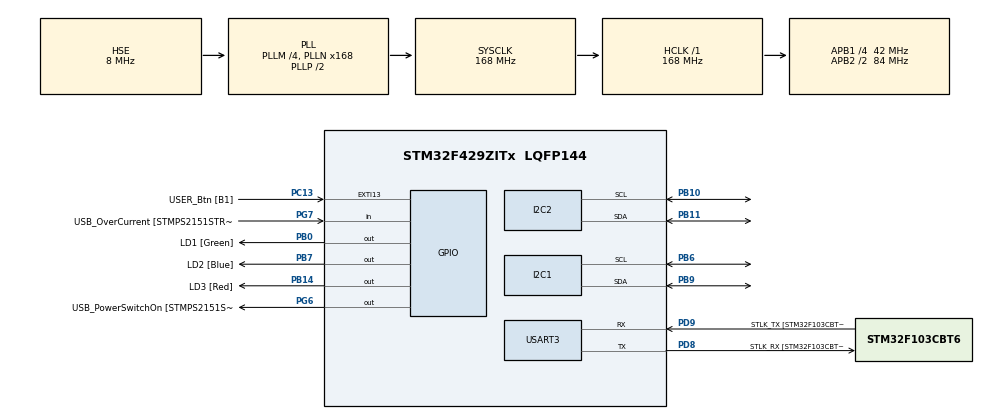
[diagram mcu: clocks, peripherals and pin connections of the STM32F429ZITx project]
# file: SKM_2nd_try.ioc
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Dma.I2C1_RX.0.Direction=DMA_PERIPH_TO_MEMORY
Dma.I2C1_RX.0.FIFOMode=DMA_FIFOMODE_DISABLE
Dma.I2C1_RX.0.Instance=DMA1_Stream0
Dma.I2C1_RX.0.MemDataAlignment=DMA_MDATAALIGN_BYTE
Dma.I2C1_RX.0.MemInc=DMA_MINC_ENABLE
Dma.I2C1_RX.0.Mode=DMA_NORMAL
Dma.I2C1_RX.0.PeriphDataAlignment=DMA_PDATAALIGN_BYTE
Dma.I2C1_RX.0.PeriphInc=DMA_PINC_DISABLE
Dma.I2C1_RX.0.Priority=DMA_PRIORITY_LOW
Dma.I2C1_TX.1.Direction=DMA_MEMORY_TO_PERIPH
Dma.I2C1_TX.1.FIFOMode=DMA_FIFOMODE_DISABLE
Dma.I2C1_TX.1.Instance=DMA1_Stream6
Dma.I2C1_TX.1.MemDataAlignment=DMA_MDATAALIGN_BYTE
Dma.I2C1_TX.1.MemInc=DMA_MINC_ENABLE
Dma.I2C1_TX.1.Mode=DMA_NORMAL
Dma.I2C1_TX.1.PeriphDataAlignment=DMA_PDATAALIGN_BYTE
Dma.I2C1_TX.1.PeriphInc=DMA_PINC_DISABLE
Dma.I2C1_TX.1.Priority=DMA_PRIORITY_LOW
Dma.I2C2_TX.2.Direction=DMA_MEMORY_TO_PERIPH
Dma.I2C2_TX.2.FIFOMode=DMA_FIFOMODE_DISABLE
Dma.I2C2_TX.2.Instance=DMA1_Stream7
Dma.I2C2_TX.2.MemDataAlignment=DMA_MDATAALIGN_BYTE
Dma.I2C2_TX.2.MemInc=DMA_MINC_ENABLE
Dma.I2C2_TX.2.Mode=DMA_NORMAL
Dma.I2C2_TX.2.PeriphDataAlignment=DMA_PDATAALIGN_BYTE
Dma.I2C2_TX.2.PeriphInc=DMA_PINC_DISABLE
Dma.I2C2_TX.2.Priority=DMA_PRIORITY_LOW
Dma.Request0=I2C1_RX
Dma.Request1=I2C1_TX
Dma.Request2=I2C2_TX
IWDG.Prescaler=IWDG_PRESCALER_256
IWDG.Reload=999
Mcu.Family=STM32F4
Mcu.Name=STM32F429ZITx
Mcu.Package=LQFP144
NVIC.DMA1_Stream0_IRQn=true\:0\:0\:false\:false\:true\:false\:true\:true
NVIC.DMA1_Stream6_IRQn=true\:0\:0\:false\:false\:true\:false\:true\:true
NVIC.DMA1_Stream7_IRQn=true\:0\:0\:false\:false\:true\:false\:true\:true
NVIC.PriorityGroup=NVIC_PRIORITYGROUP_4
NVIC.USART3_IRQn=true\:0\:0\:false\:false\:true\:true\:true\:true
PA1.GPIO_Label=RMII_REF_CLK [LAN8742A-CZ-TR_REFCLK0]
PA1.Signal=ETH_REF_CLK
PA10.GPIO_Label=USB_ID
PA10.Signal=USB_OTG_FS_ID
PA11.GPIO_Label=USB_DM
PA11.Signal=USB_OTG_FS_DM
PA12.GPIO_Label=USB_DP
PA12.Signal=USB_OTG_FS_DP
PA13.GPIO_Label=TMS
PA13.Mode=Serial_Wire
PA13.Signal=SYS_JTMS-SWDIO
PA14.GPIO_Label=TCK
PA14.Mode=Serial_Wire
PA14.Signal=SYS_JTCK-SWCLK
PA2.GPIO_Label=RMII_MDIO [LAN8742A-CZ-TR_MDIO]
PA2.Signal=ETH_MDIO
PA7.GPIO_Label=RMII_CRS_DV [LAN8742A-CZ-TR_CRS_DV]
PA7.Signal=ETH_CRS_DV
PA8.GPIO_Label=USB_SOF [TP1]
PA8.Signal=USB_OTG_FS_SOF
PA9.GPIO_Label=USB_VBUS
PA9.Signal=USB_OTG_FS_VBUS
PB0.GPIO_Label=LD1 [Green]
PB0.Signal=GPIO_Output
PB10.Mode=I2C
PB10.Signal=I2C2_SCL
PB11.Mode=I2C
PB11.Signal=I2C2_SDA
PB13.GPIO_Label=RMII_TXD1 [LAN8742A-CZ-TR_TXD1]
PB13.Signal=ETH_TXD1
PB14.GPIO_Label=LD3 [Red]
PB14.Signal=GPIO_Output
PB6.Mode=I2C
PB6.Signal=I2C1_SCL
PB7.GPIO_Label=LD2 [Blue]
PB7.Signal=GPIO_Output
PB9.Mode=I2C
PB9.Signal=I2C1_SDA
PC1.GPIO_Label=RMII_MDC [LAN8742A-CZ-TR_MDC]
PC1.Signal=ETH_MDC
PC13.GPIO_Label=USER_Btn [B1]
PC13.Signal=GPXTI13
PC14/OSC32_IN.Mode=LSE-External-Oscillator
PC14/OSC32_IN.Signal=RCC_OSC32_IN
PC15/OSC32_OUT.Mode=LSE-External-Oscillator
PC15/OSC32_OUT.Signal=RCC_OSC32_OUT
PC4.GPIO_Label=RMII_RXD0 [LAN8742A-CZ-TR_RXD0]
PC4.Signal=ETH_RXD0
PC5.GPIO_Label=RMII_RXD1 [LAN8742A-CZ-TR_RXD1]
PC5.Signal=ETH_RXD1
PD8.GPIO_Label=STLK_RX [STM32F103CBT6_PA3]
PD8.Mode=Asynchronous
PD8.Signal=USART3_TX
PD9.GPIO_Label=STLK_TX [STM32F103CBT6_PA2]
PD9.Mode=Asynchronous
PD9.Signal=USART3_RX
PG11.GPIO_Label=RMII_TX_EN [LAN8742A-CZ-TR_TXEN]
PG11.Signal=ETH_TX_EN
PG13.GPIO_Label=RMII_TXD0 [LAN8742A-CZ-TR_TXD0]
PG13.Signal=ETH_TXD0
PG6.GPIO_Label=USB_PowerSwitchOn [STMPS2151STR_EN]
PG6.Signal=GPIO_Output
PG7.GPIO_Label=USB_OverCurrent [STMPS2151STR_FAULT]
PG7.Signal=GPIO_Input
PH0/OSC_IN.GPIO_Label=MCO [STM32F103CBT6_PA8]
PH0/OSC_IN.Mode=HSE-External-Clock-Source
PH0/OSC_IN.Signal=RCC_OSC_IN
PH1/OSC_OUT.Mode=HSE-External-Clock-Source
PH1/OSC_OUT.Signal=RCC_OSC_OUT
ProjectManager.HeapSize=0x200
ProjectManager.StackSize=0x400
ProjectManager.TargetToolchain=STM32CubeIDE
RCC.48MHZClocksFreq_Value=48000000
RCC.AHBFreq_Value=168000000
RCC.APB1CLKDivider=RCC_HCLK_DIV4
RCC.APB1Freq_Value=42000000
RCC.APB1TimFreq_Value=84000000
RCC.APB2CLKDivider=RCC_HCLK_DIV2
RCC.APB2Freq_Value=84000000
RCC.APB2TimCLKDivider=2
RCC.APB2TimFreq_Value=168000000
RCC.CortexFreq_Value=168000000
RCC.HCLKFreq_Value=168000000
RCC.HSE_VALUE=8000000
RCC.HSI_VALUE=16000000
RCC.PLLM=4
RCC.PLLMUL=RCC_PLL_MUL9
RCC.PLLN=168
RCC.PLLQ=7
RCC.PLLSourceVirtual=RCC_PLLSOURCE_HSE
RCC.PRESCALERUSB=RCC_USBCLKSOURCE_PLL_DIV1_5
RCC.SYSCLKFreq_VALUE=168000000
RCC.SYSCLKSource=RCC_SYSCLKSOURCE_PLLCLK
RCC.SYSCLKSourceVirtual=RCC_SYSCLKSOURCE_PLLCLK
RCC.USBFreq_Value=48000000
RCC.VCOOutputFreq_Value=336000000
USART3.VirtualMode=VM_ASYNC
VP_IWDG_VS_IWDG.Mode=IWDG_Activate
board=NUCLEO-F429ZI

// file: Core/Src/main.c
/* USER CODE BEGIN Header */
/**
  ******************************************************************************
  * @file           : main.c
  * @brief          : Main program body
  ******************************************************************************
  * @attention
  *
  * Copyright (c) 2026 STMicroelectronics.
  * All rights reserved.
  *
  * This software is licensed under terms that can be found in the LICENSE file
  * in the root directory of this software component.
  * If no LICENSE file comes with this software, it is provided AS-IS.
  *
  ******************************************************************************
  */
/* USER CODE END Header */
#include "main.h"
#include "dma.h"
#include "i2c.h"
#include "iwdg.h"
#include "usart.h"
#include "gpio.h"

/* USER CODE BEGIN Includes */
#include "app.h"
#include "string.h"
#include "cli.h"
#include "bmp280.h"
#include "lcd_i2c.h"
#include "stdio.h"
/* USER CODE END Includes */

void SystemClock_Config(void);

/* USER CODE BEGIN 0 */
static void I2C_Scan(UART_HandleTypeDef *huart, I2C_HandleTypeDef *hi2c, const char *name)
{
    char msg[80];
    uint8_t found = 0;

    snprintf(msg, sizeof(msg), "\r\nSkanowanie %s...\r\n", name);
    HAL_UART_Transmit(huart, (uint8_t*)msg, strlen(msg), 100);

    for (uint8_t addr = 1; addr < 128; addr++)
    {
        if (HAL_I2C_IsDeviceReady(hi2c, (uint16_t)(addr << 1), 2, 10) == HAL_OK)
        {
            snprintf(msg, sizeof(msg), "Znaleziono: 0x%02X\r\n", addr);
            HAL_UART_Transmit(huart, (uint8_t*)msg, strlen(msg), 100);
            found = 1;
        }
    }

    if (!found)
    {
        snprintf(msg, sizeof(msg), "Brak urzadzen na %s\r\n", name);
        HAL_UART_Transmit(huart, (uint8_t*)msg, strlen(msg), 100);
    }
}
/* USER CODE END 0 */

int main(void)
{

  /* MCU Configuration--------------------------------------------------------*/

  /* Reset of all peripherals, Initializes the Flash interface and the Systick. */
  HAL_Init();

  /* Configure the system clock */
  SystemClock_Config();

  /* Initialize all configured peripherals */
  MX_GPIO_Init();
  MX_DMA_Init();
  MX_I2C1_Init();
  MX_I2C2_Init();
  MX_USART3_UART_Init();
  MX_IWDG_Init();
  /* USER CODE BEGIN 2 */
  HAL_Delay(500);

  I2C_Scan(&huart3, &hi2c1, "I2C1");
  I2C_Scan(&huart3, &hi2c2, "I2C2");
  APP_Init(&hi2c2, &hi2c1, &huart3);
  /* USER CODE END 2 */

  /* Infinite loop */
  /* USER CODE BEGIN WHILE */
  while (1)
  {
	  APP_Process();
	  HAL_IWDG_Refresh(&hiwdg);
    /* USER CODE END WHILE */

  }
}

void SystemClock_Config(void)
{
  RCC_OscInitTypeDef RCC_OscInitStruct = {0};
  RCC_ClkInitTypeDef RCC_ClkInitStruct = {0};

  /** Configure the main internal regulator output voltage
  */
  __HAL_RCC_PWR_CLK_ENABLE();
  __HAL_PWR_VOLTAGESCALING_CONFIG(PWR_REGULATOR_VOLTAGE_SCALE1);

  /** Initializes the RCC Oscillators according to the specified parameters
  * in the RCC_OscInitTypeDef structure.
  */
  RCC_OscInitStruct.OscillatorType = RCC_OSCILLATORTYPE_LSI|RCC_OSCILLATORTYPE_HSE;
  RCC_OscInitStruct.HSEState = RCC_HSE_BYPASS;
  RCC_OscInitStruct.LSIState = RCC_LSI_ON;
  RCC_OscInitStruct.PLL.PLLState = RCC_PLL_ON;
  RCC_OscInitStruct.PLL.PLLSource = RCC_PLLSOURCE_HSE;
  RCC_OscInitStruct.PLL.PLLM = 4;
  RCC_OscInitStruct.PLL.PLLN = 168;
  RCC_OscInitStruct.PLL.PLLP = RCC_PLLP_DIV2;
  RCC_OscInitStruct.PLL.PLLQ = 7;
  if (HAL_RCC_OscConfig(&RCC_OscInitStruct) != HAL_OK)
  {
    Error_Handler();
  }

  /** Initializes the CPU, AHB and APB buses clocks
  */
  RCC_ClkInitStruct.ClockType = RCC_CLOCKTYPE_HCLK|RCC_CLOCKTYPE_SYSCLK
                              |RCC_CLOCKTYPE_PCLK1|RCC_CLOCKTYPE_PCLK2;
  RCC_ClkInitStruct.SYSCLKSource = RCC_SYSCLKSOURCE_PLLCLK;
  RCC_ClkInitStruct.AHBCLKDivider = RCC_SYSCLK_DIV1;
  RCC_ClkInitStruct.APB1CLKDivider = RCC_HCLK_DIV4;
  RCC_ClkInitStruct.APB2CLKDivider = RCC_HCLK_DIV2;

  if (HAL_RCC_ClockConfig(&RCC_ClkInitStruct, FLASH_LATENCY_5) != HAL_OK)
  {
    Error_Handler();
  }
}

/* USER CODE BEGIN 4 */
void HAL_UART_RxCpltCallback(UART_HandleTypeDef *huart)
{
    CLI_OnUartRxCpltCallback(huart);
}

void HAL_UART_ErrorCallback(UART_HandleTypeDef *huart)
{
    CLI_OnUartErrorCallback(huart);
}

void HAL_I2C_MemRxCpltCallback(I2C_HandleTypeDef *hi2c)
{
    BMP280_I2C_MemRxCpltCallback(hi2c);
}

void HAL_I2C_MasterTxCpltCallback(I2C_HandleTypeDef *hi2c)
{
    LCD_I2C_MasterTxCpltCallback(hi2c);
}

void HAL_I2C_ErrorCallback(I2C_HandleTypeDef *hi2c)
{
    BMP280_I2C_ErrorCallback(hi2c);
    LCD_I2C_ErrorCallback(hi2c);
}
/* USER CODE END 4 */

void Error_Handler(void)
{
  __disable_irq();
  while (1)
  {
  }
}
